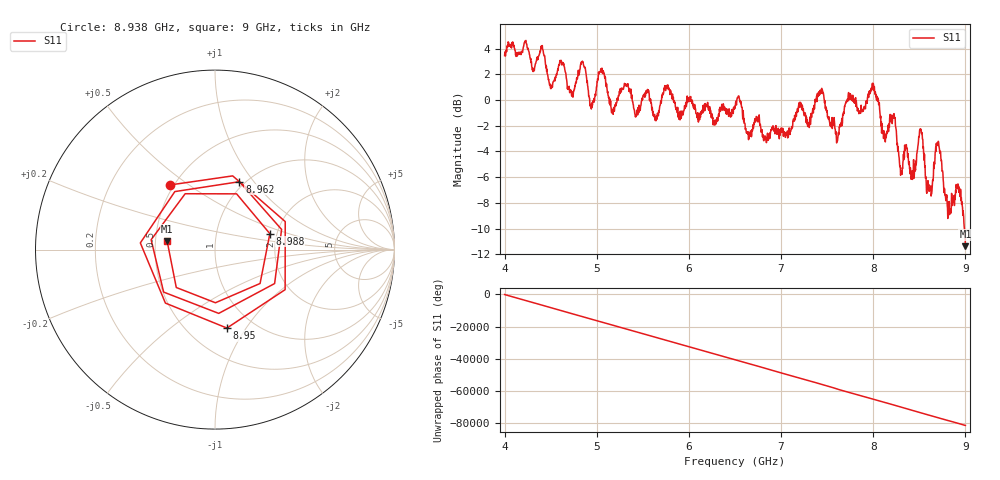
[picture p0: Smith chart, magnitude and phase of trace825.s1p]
! Created with skrf 1.8.0 (http://scikit-rf.org).
# Hz S RI R 50.0
!freq ReS11 ImS11
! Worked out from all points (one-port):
!   1601 points, 4 GHz to 9 GHz, reference 50 ohm
!   lowest |S11| = -11.4 dB at 9 GHz (marker M1), VSWR 1.74, Z = 28.9 + j2.86 ohm
!   |S11| at or under -10 dB: 8.989476 GHz to end of sweep
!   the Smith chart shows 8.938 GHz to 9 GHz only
!   S11 on the Smith chart (normalised r, x): 8.938 GHz: 0.48, +0.42; 8.95 GHz: 0.76, -0.82; 8.962 GHz: 0.94, +0.85; 8.988 GHz: 1.83, +0.36; 9 GHz: 0.58, +0.06
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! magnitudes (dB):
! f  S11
! 4 GHz  3.5
! 4.625 GHz  2.9
! 4.728 GHz  0.3
! 4.853 GHz  2.8
! 4.944 GHz  -0.3
! 5.044 GHz  2.4
! 5.25 GHz  0.8
! 5.875 GHz  -1.0
! 6.5 GHz  -0.6
! 7.125 GHz  -2.1
! 7.438 GHz  0.8
! 7.609 GHz  -3.2
! 7.75 GHz  0.1
! 8 GHz  1.3
! 8.116 GHz  -2.4
! 8.212 GHz  -1.2
! 8.297 GHz  -5.8
! 8.375 GHz  -4.4
! 8.434 GHz  -5.7
! 8.519 GHz  -2.3
! 8.616 GHz  -6.9
! 8.703 GHz  -3.5
! 8.819 GHz  -8.8
! 8.938 GHz  -7.2
! 8.95 GHz  -7.1
! 8.962 GHz  -7.9
! 8.988 GHz  -9.9
! 9 GHz  -11.4
